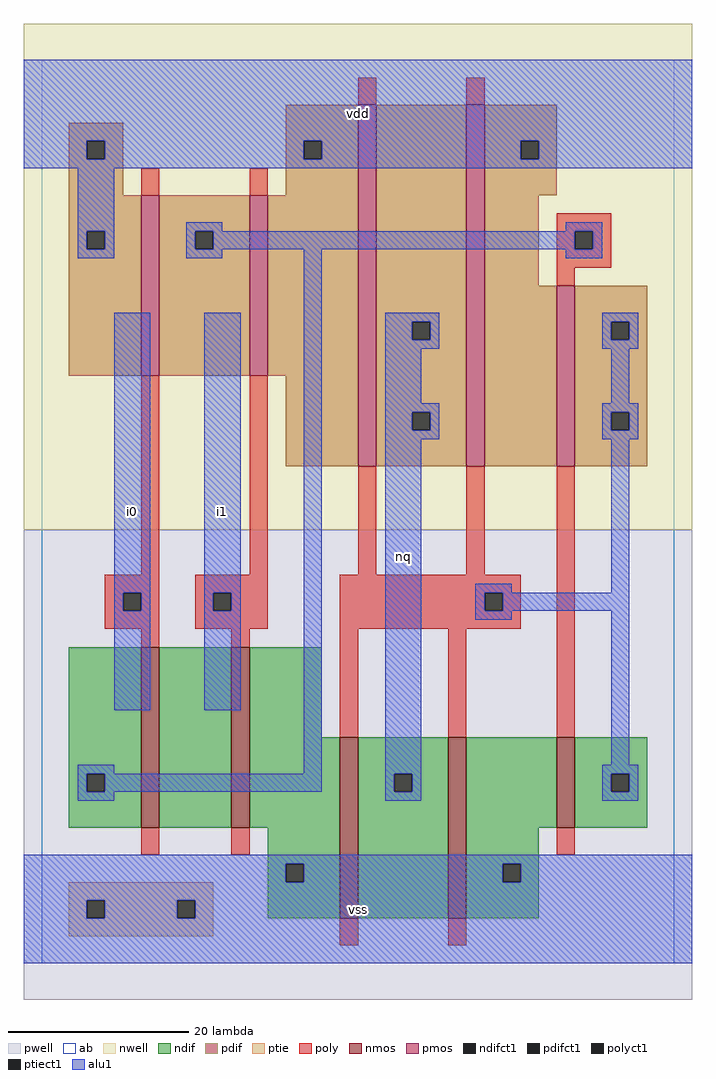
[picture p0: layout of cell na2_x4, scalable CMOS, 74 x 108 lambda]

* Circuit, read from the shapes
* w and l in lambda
.subckt na2_x4 i0 i1 nq vdd vss
M1 n1 i0 n2 vss nfet w=20 l=2
M2 vss i1 n1 vss nfet w=20 l=2
M3 nq n3 vss vss nfet w=20 l=2 m=2
M4 n3 n2 vss vss nfet w=10 l=2
M5 n2 i0 vdd n4 pfet w=20 l=2
M6 vdd i1 n2 n4 pfet w=20 l=2
M7 nq n3 vdd n4 pfet w=40 l=2 m=2
M8 n3 n2 vdd n4 pfet w=20 l=2
.ends

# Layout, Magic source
magic
tech scmos
<< ab >>
rect 0 0 70 100
<< nwell >>
rect -2 48 72 104
<< pwell >>
rect -2 -4 72 48
<< poly >>
rect 35 95 37 98
rect 47 95 49 98
rect 11 85 13 88
rect 23 85 25 88
rect 11 43 13 65
rect 23 43 25 65
rect 57 81 63 83
rect 57 79 59 81
rect 61 79 63 81
rect 57 77 63 79
rect 57 75 59 77
rect 35 43 37 55
rect 47 43 49 55
rect 7 41 13 43
rect 7 39 9 41
rect 11 39 13 41
rect 7 37 13 39
rect 17 41 25 43
rect 17 39 19 41
rect 21 39 25 41
rect 17 37 25 39
rect 33 41 53 43
rect 33 39 49 41
rect 51 39 53 41
rect 33 37 53 39
rect 11 35 13 37
rect 21 35 23 37
rect 33 25 35 37
rect 45 25 47 37
rect 57 25 59 55
rect 11 12 13 15
rect 21 12 23 15
rect 57 12 59 15
rect 33 2 35 5
rect 45 2 47 5
<< ndif >>
rect 3 21 11 35
rect 3 19 5 21
rect 7 19 11 21
rect 3 15 11 19
rect 13 15 21 35
rect 23 25 31 35
rect 23 15 33 25
rect 25 11 33 15
rect 25 9 27 11
rect 29 9 33 11
rect 25 5 33 9
rect 35 21 45 25
rect 35 19 39 21
rect 41 19 45 21
rect 35 5 45 19
rect 47 15 57 25
rect 59 21 67 25
rect 59 19 63 21
rect 65 19 67 21
rect 59 15 67 19
rect 47 11 55 15
rect 47 9 51 11
rect 53 9 55 11
rect 47 5 55 9
<< pdif >>
rect 3 91 9 93
rect 3 89 5 91
rect 7 89 9 91
rect 3 85 9 89
rect 27 91 35 95
rect 27 89 29 91
rect 31 89 35 91
rect 27 85 35 89
rect 3 81 11 85
rect 3 79 5 81
rect 7 79 11 81
rect 3 65 11 79
rect 13 81 23 85
rect 13 79 17 81
rect 19 79 23 81
rect 13 65 23 79
rect 25 65 35 85
rect 27 55 35 65
rect 37 71 47 95
rect 37 69 41 71
rect 43 69 47 71
rect 37 61 47 69
rect 37 59 41 61
rect 43 59 47 61
rect 37 55 47 59
rect 49 91 57 95
rect 49 89 53 91
rect 55 89 57 91
rect 49 85 57 89
rect 49 75 55 85
rect 49 55 57 75
rect 59 71 67 75
rect 59 69 63 71
rect 65 69 67 71
rect 59 61 67 69
rect 59 59 63 61
rect 65 59 67 61
rect 59 55 67 59
<< alu1 >>
rect -2 91 72 100
rect -2 89 5 91
rect 7 89 29 91
rect 31 89 53 91
rect 55 89 72 91
rect -2 88 72 89
rect 4 81 8 88
rect 4 79 5 81
rect 7 79 8 81
rect 4 78 8 79
rect 16 81 20 82
rect 58 81 62 82
rect 16 79 17 81
rect 19 79 59 81
rect 61 79 62 81
rect 16 78 20 79
rect 8 41 12 72
rect 8 39 9 41
rect 11 39 12 41
rect 8 28 12 39
rect 18 41 22 72
rect 18 39 19 41
rect 21 39 22 41
rect 18 28 22 39
rect 4 21 8 22
rect 29 21 31 79
rect 58 78 62 79
rect 4 19 5 21
rect 7 19 31 21
rect 38 71 44 72
rect 38 69 41 71
rect 43 69 44 71
rect 38 68 44 69
rect 62 71 66 72
rect 62 69 63 71
rect 65 69 66 71
rect 62 68 66 69
rect 38 62 42 68
rect 63 62 65 68
rect 38 61 44 62
rect 38 59 41 61
rect 43 59 44 61
rect 38 58 44 59
rect 62 61 66 62
rect 62 59 63 61
rect 65 59 66 61
rect 62 58 66 59
rect 38 21 42 58
rect 48 41 52 42
rect 63 41 65 58
rect 48 39 49 41
rect 51 39 65 41
rect 48 38 52 39
rect 63 22 65 39
rect 38 19 39 21
rect 41 19 42 21
rect 4 18 8 19
rect 38 18 42 19
rect 62 21 66 22
rect 62 19 63 21
rect 65 19 66 21
rect 62 18 66 19
rect -2 11 72 12
rect -2 9 27 11
rect 29 9 51 11
rect 53 9 72 11
rect -2 7 72 9
rect -2 5 5 7
rect 7 5 15 7
rect 17 5 72 7
rect -2 0 72 5
<< ptie >>
rect 3 7 19 9
rect 3 5 5 7
rect 7 5 15 7
rect 17 5 19 7
rect 3 3 19 5
<< nmos >>
rect 11 15 13 35
rect 21 15 23 35
rect 33 5 35 25
rect 45 5 47 25
rect 57 15 59 25
<< pmos >>
rect 11 65 13 85
rect 23 65 25 85
rect 35 55 37 95
rect 47 55 49 95
rect 57 55 59 75
<< polyct1 >>
rect 59 79 61 81
rect 9 39 11 41
rect 19 39 21 41
rect 49 39 51 41
<< ndifct1 >>
rect 5 19 7 21
rect 27 9 29 11
rect 39 19 41 21
rect 63 19 65 21
rect 51 9 53 11
<< ptiect1 >>
rect 5 5 7 7
rect 15 5 17 7
<< pdifct1 >>
rect 5 89 7 91
rect 29 89 31 91
rect 5 79 7 81
rect 17 79 19 81
rect 41 69 43 71
rect 41 59 43 61
rect 53 89 55 91
rect 63 69 65 71
rect 63 59 65 61
<< labels >>
rlabel alu1 10 50 10 50 6 i0
rlabel alu1 20 50 20 50 6 i1
rlabel alu1 35 6 35 6 6 vss
rlabel alu1 40 45 40 45 6 nq
rlabel alu1 35 94 35 94 6 vdd
<< end >>
